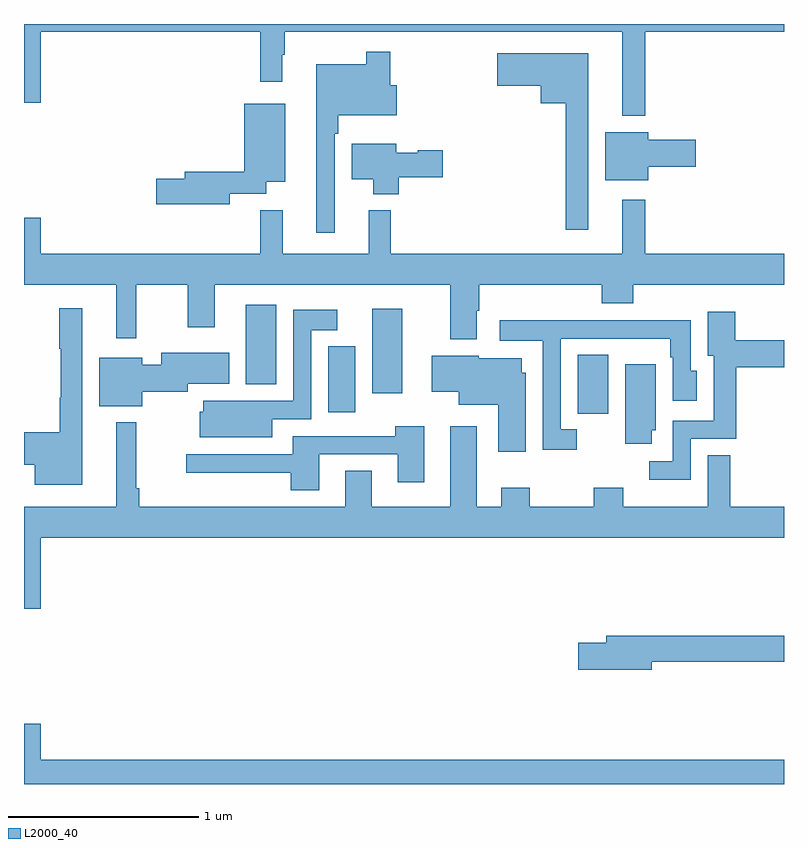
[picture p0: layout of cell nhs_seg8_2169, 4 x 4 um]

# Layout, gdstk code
import gdstk
lib = gdstk.Library(unit=1e-6, precision=1e-09)
def R(c, l, rs):  # rectangles x0, y0, x1, y1
    for r in rs: c.add(gdstk.rectangle(r[:2], r[2:], *l))
def P(c, l, *ps):  # polygons
    for p in ps: c.add(gdstk.Polygon(p, *l))
L2000_40 = (2000, 40)

nhs_seg8_2169 = lib.new_cell('nhs_seg8_2169')
R(nhs_seg8_2169, L2000_40, [(251.915,1087.848,252.076,1088.159), (250.601,1087.857,250.744,1088.203), (250.832,1087.956,250.99,1088.401), (250.166,1088.003,250.327,1088.422)])
P(nhs_seg8_2169, L2000_40, [(252.271,1089.86),(253,1089.86),(253,1089.9),(249,1089.9),(249,1089.486),(249.088,1089.486),(249.088,1089.86),(250.243,1089.86),(250.243,1089.597),(250.36,1089.597),(250.36,1089.737),(250.372,1089.737),(250.372,1089.86),(252.149,1089.86),(252.149,1089.416),(252.271,1089.416)],
  [(250.635,1089.323),(250.655,1089.323),(250.655,1089.419),(250.963,1089.419),(250.963,1089.577),(250.928,1089.577),(250.928,1089.754),(250.8,1089.754),(250.8,1089.688),(250.538,1089.688),(250.538,1088.802),(250.635,1088.802)],
  [(251.971,1089.745),(251.49,1089.745),(251.49,1089.575),(251.72,1089.575),(251.72,1089.482),(251.85,1089.482),(251.85,1088.817),(251.971,1088.817)],
  [(250.084,1089.006),(250.276,1089.006),(250.276,1089.071),(250.375,1089.071),(250.375,1089.481),(250.16,1089.481),(250.16,1089.122),(249.845,1089.122),(249.845,1089.086),(249.696,1089.086),(249.696,1088.951),(250.084,1088.951)],
  [(252.286,1089.148),(252.535,1089.148),(252.535,1089.29),(252.286,1089.29),(252.286,1089.331),(252.059,1089.331),(252.059,1089.077),(252.286,1089.077)],
  [(250.973,1089.094),(251.203,1089.094),(251.203,1089.236),(251.073,1089.236),(251.073,1089.223),(250.96,1089.223),(250.96,1089.271),(250.724,1089.271),(250.724,1089.083),(250.838,1089.083),(250.838,1089.005),(250.973,1089.005)],
  [(251.383,1088.39),(251.396,1088.39),(251.396,1088.528),(252.041,1088.528),(252.041,1088.429),(252.206,1088.429),(252.206,1088.528),(253,1088.528),(253,1088.692),(252.271,1088.692),(252.271,1088.974),(252.149,1088.974),(252.149,1088.692),(250.931,1088.692),(250.931,1088.92),(250.814,1088.92),(250.814,1088.692),(250.361,1088.692),(250.361,1088.921),(250.243,1088.921),(250.243,1088.692),(249.088,1088.692),(249.088,1088.881),(249,1088.881),(249,1088.528),(249.485,1088.528),(249.485,1088.247),(249.592,1088.247),(249.592,1088.528),(249.863,1088.528),(249.863,1088.304),(250.003,1088.304),(250.003,1088.528),(251.243,1088.528),(251.243,1088.24),(251.383,1088.24)],
  [(249.307,1088.404),(249.186,1088.404),(249.186,1088.191),(249.193,1088.191),(249.193,1087.934),(249.188,1087.934),(249.188,1087.751),(249,1087.751),(249,1087.58),(249.056,1087.58),(249.056,1087.475),(249.307,1087.475)],
  [(250.306,1087.821),(250.512,1087.821),(250.512,1088.288),(250.648,1088.288),(250.648,1088.395),(250.416,1088.395),(250.416,1087.917),(250.17,1087.917),(250.17,1087.918),(249.944,1087.918),(249.944,1087.86),(249.926,1087.86),(249.926,1087.724),(250.306,1087.724)],
  [(252.51,1087.716),(252.748,1087.716),(252.748,1088.093),(253,1088.093),(253,1088.235),(252.743,1088.235),(252.743,1088.386),(252.599,1088.386),(252.599,1088.153),(252.629,1088.153),(252.629,1087.812),(252.414,1087.812),(252.414,1087.599),(252.291,1087.599),(252.291,1087.502),(252.51,1087.502)],
  [(251.908,1087.767),(251.826,1087.767),(251.826,1088.244),(252.172,1088.244),(252.172,1088.243),(252.402,1088.243),(252.402,1088.147),(252.414,1088.147),(252.414,1087.917),(252.541,1087.917),(252.541,1088.076),(252.51,1088.076),(252.51,1088.342),(252.289,1088.342),(252.289,1088.34),(251.923,1088.34),(251.923,1088.342),(251.505,1088.342),(251.505,1088.234),(251.73,1088.234),(251.73,1087.659),(251.908,1087.659)],
  [(249.622,1087.964),(249.862,1087.964),(249.862,1088.006),(250.081,1088.006),(250.081,1088.17),(249.722,1088.17),(249.722,1088.106),(249.622,1088.106),(249.622,1088.143),(249.395,1088.143),(249.395,1087.889),(249.622,1087.889)],
  [(251.641,1088.064),(251.62,1088.064),(251.62,1088.14),(251.394,1088.14),(251.394,1088.155),(251.147,1088.155),(251.147,1087.964),(251.288,1087.964),(251.288,1087.895),(251.495,1087.895),(251.495,1087.65),(251.641,1087.65)],
  [(252.304,1087.761),(252.325,1087.761),(252.325,1088.11),(252.164,1088.11),(252.164,1087.692),(252.304,1087.692)],
  [(249.088,1087.196),(253,1087.196),(253,1087.36),(252.718,1087.36),(252.718,1087.631),(252.599,1087.631),(252.599,1087.36),(252.153,1087.36),(252.153,1087.459),(251.998,1087.459),(251.998,1087.36),(251.661,1087.36),(251.661,1087.459),(251.513,1087.459),(251.513,1087.36),(251.383,1087.36),(251.383,1087.783),(251.243,1087.783),(251.243,1087.36),(250.831,1087.36),(250.831,1087.55),(250.691,1087.55),(250.691,1087.36),(249.607,1087.36),(249.607,1087.456),(249.592,1087.456),(249.592,1087.804),(249.485,1087.804),(249.485,1087.36),(249,1087.36),(249,1086.822),(249.088,1086.822)],
  [(250.555,1087.635),(250.967,1087.635),(250.967,1087.488),(251.107,1087.488),(251.107,1087.783),(250.955,1087.783),(250.955,1087.731),(250.415,1087.731),(250.415,1087.635),(249.855,1087.635),(249.855,1087.538),(250.403,1087.538),(250.403,1087.446),(250.555,1087.446)],
  [(252.304,1086.544),(253,1086.544),(253,1086.68),(252.065,1086.68),(252.065,1086.644),(251.916,1086.644),(251.916,1086.502),(252.304,1086.502)],
  [(253,1086.028),(249.088,1086.028),(249.088,1086.217),(249,1086.217),(249,1085.9),(253,1085.9)])

lib.write_gds('nhs_seg8_2169.gds')
